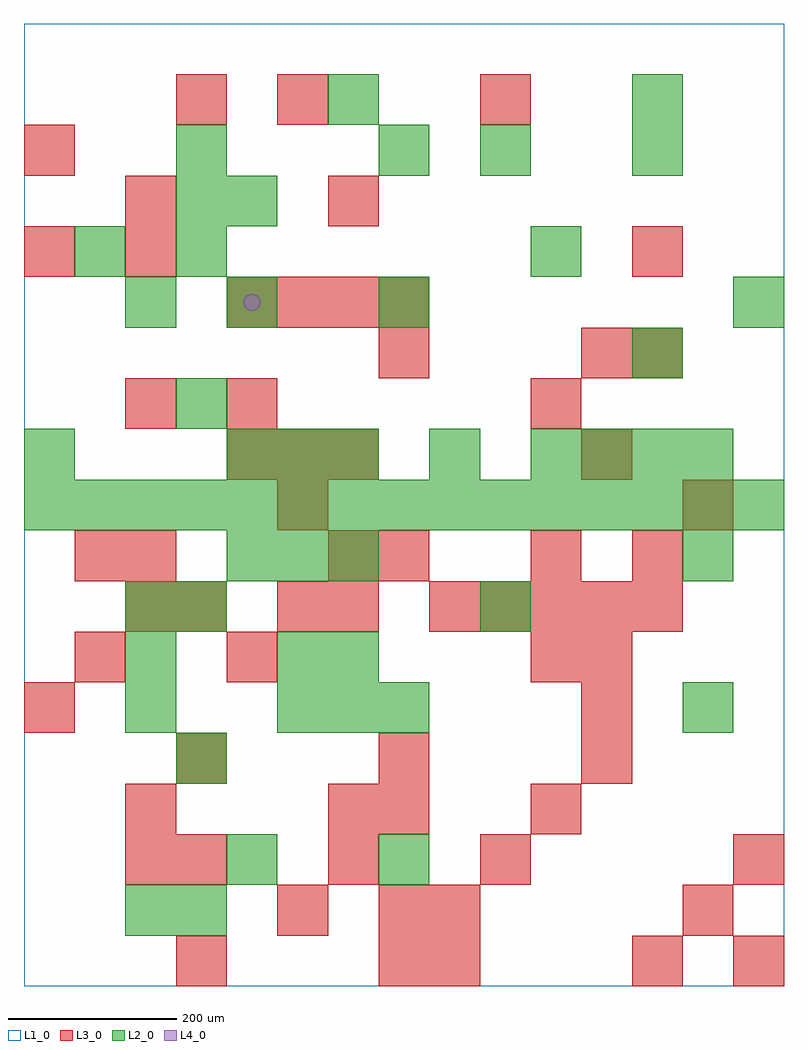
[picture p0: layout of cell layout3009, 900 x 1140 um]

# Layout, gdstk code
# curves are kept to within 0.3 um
import gdstk
lib = gdstk.Library(unit=1e-6, precision=1e-09)
def R(c, l, rs):  # rectangles x0, y0, x1, y1
    for r in rs: c.add(gdstk.rectangle(r[:2], r[2:], *l))
def A(c, l, x, y, w, h, nx, ny, dx, dy):  # array of equal rectangles
    R(c, l, [(x+i*dx, y+j*dy, x+i*dx+w, y+j*dy+h) for i in range(nx) for j in range(ny)])
def P(c, l, *ps):  # polygons
    for p in ps: c.add(gdstk.Polygon(p, *l))
L1_0 = (1, 0)
L2_0 = (2, 0)
L3_0 = (3, 0)
L4_0 = (4, 0)

layout3009 = lib.new_cell('layout3009')
R(layout3009, L1_0, [(0,0,900,1140)])
A(layout3009, L2_0, 180, 60, 60, 60, 1, 3, 0, 180)
A(layout3009, L2_0, 120, 300, 60, 60, 1, 3, 0, 60)
A(layout3009, L2_0, 300, 300, 60, 60, 3, 1, 60, 0)
A(layout3009, L2_0, 240, 480, 60, 60, 3, 2, 60, 120)
A(layout3009, L2_0, 0, 540, 60, 60, 15, 1, 60, 0)
A(layout3009, L2_0, 600, 600, 60, 60, 4, 1, 60, 0)
A(layout3009, L2_0, 180, 840, 60, 60, 1, 3, 0, 60)
R(layout3009, L2_0, [(120,60,180,120), (240,120,300,180), (420,120,480,180), (780,300,840,360), (300,360,360,420), (360,360,420,420), (540,420,600,480), (780,480,840,540), (0,600,60,660), (480,600,540,660), (180,660,240,720), (720,720,780,780), (120,780,180,840), (240,780,300,840), (420,780,480,840), (840,780,900,840), (60,840,120,900), (600,840,660,900), (240,900,300,960), (420,960,480,1020), (540,960,600,1020), (720,960,780,1020), (360,1020,420,1080), (720,1020,780,1080)])
A(layout3009, L3_0, 180, 120, 60, 60, 3, 1, 180, 0)
A(layout3009, L3_0, 180, 240, 60, 60, 3, 1, 240, 0)
A(layout3009, L3_0, 480, 420, 60, 60, 5, 1, 60, 0)
A(layout3009, L3_0, 120, 480, 60, 60, 1, 3, 0, 180)
A(layout3009, L3_0, 240, 600, 60, 60, 3, 1, 60, 0)
A(layout3009, L3_0, 240, 780, 60, 60, 4, 1, 60, 0)
R(layout3009, L3_0, [(180,0,240,60), (420,0,480,60), (480,0,540,60), (720,0,780,60), (840,0,900,60), (300,60,360,120), (420,60,480,120), (480,60,540,120), (780,60,840,120), (120,120,180,180), (840,120,900,180), (120,180,180,240), (360,180,420,240), (420,180,480,240), (600,180,660,240), (0,300,60,360), (660,300,720,360), (60,360,120,420), (240,360,300,420), (600,360,660,420), (660,360,720,420), (120,420,180,480), (180,420,240,480), (300,420,360,480), (360,420,420,480), (60,480,120,540), (360,480,420,540), (420,480,480,540), (600,480,660,540), (720,480,780,540), (300,540,360,600), (780,540,840,600), (660,600,720,660), (240,660,300,720), (600,660,660,720), (420,720,480,780), (660,720,720,780), (720,720,780,780), (0,840,60,900), (720,840,780,900), (120,900,180,960), (360,900,420,960), (0,960,60,1020), (180,1020,240,1080), (300,1020,360,1080), (540,1020,600,1080)])
P(layout3009, L4_0, [(280,810),(279.239,813.827),(277.071,817.071),(273.827,819.239),(270,820),(266.173,819.239),(262.929,817.071),(260.761,813.827),(260,810),(260.761,806.173),(262.929,802.929),(266.173,800.761),(270,800),(273.827,800.761),(277.071,802.929),(279.239,806.173)])

lib.write_gds('layout3009.gds')
